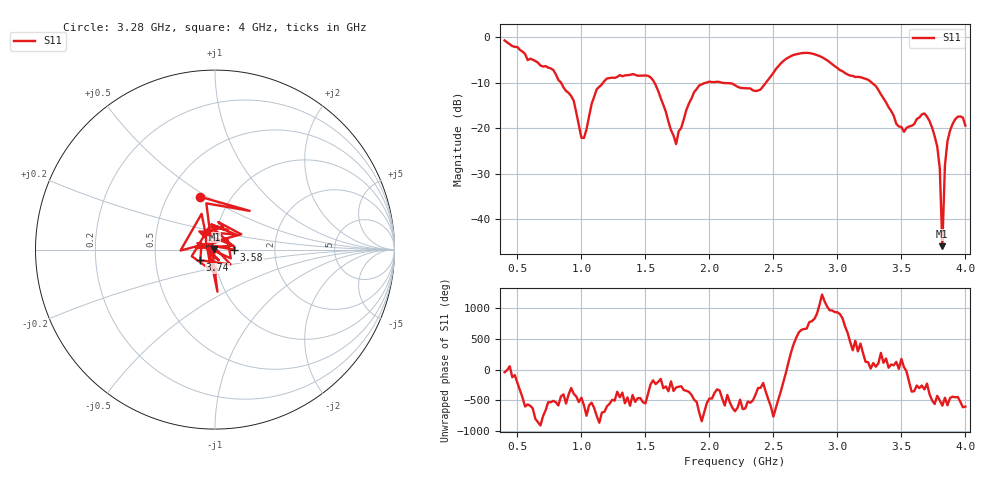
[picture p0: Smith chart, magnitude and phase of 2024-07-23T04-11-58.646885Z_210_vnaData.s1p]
!Created with skrf (http://scikit-rf.org).
# Hz S RI R 50.0
!freq ReS11 ImS11
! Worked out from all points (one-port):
!   181 points, 400 MHz to 4 GHz, reference 50 ohm
!   lowest |S11| = -45.9 dB at 3.82 GHz (marker M1), VSWR 1.01, Z = 49.7 + j0.387 ohm
!   |S11| at or under -10 dB: 1.57 GHz to 1.979 GHz (409.4 MHz wide, 23.1 % of centre); 2.093 GHz to 2.443 GHz (349.8 MHz wide, 15.4 % of centre); 3.268 GHz to end of sweep (the widest 3 of 4)
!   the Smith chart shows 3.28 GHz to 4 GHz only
!   S11 on the Smith chart (normalised r, x): 3.28 GHz: 0.72, +0.47; 3.58 GHz: 1.24, -0.00; 3.74 GHz: 0.84, -0.10; 4 GHz: 0.90, +0.18
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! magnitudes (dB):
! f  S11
! 400 MHz  -0.8
! 780 MHz  -7.2
! 860 MHz  -11.1
! 940 MHz  -14.0
! 1 GHz  -22.1
! 1.02 GHz  -22.1
! 1.12 GHz  -11.5
! 1.3 GHz  -8.4
! 1.54 GHz  -8.8
! 1.74 GHz  -23.5
! 1.76 GHz  -20.7
! 1.92 GHz  -10.6
! 2.2 GHz  -10.6
! 2.4 GHz  -11.5
! 2.66 GHz  -3.9
! 3.1 GHz  -8.5
! 3.28 GHz  -10.3
! 3.46 GHz  -19.0
! 3.56 GHz  -19.6
! 3.58 GHz  -19.5
! 3.68 GHz  -16.8
! 3.74 GHz  -19.9
! 3.8 GHz  -28.8
! 3.82 GHz  -45.9
! 3.84 GHz  -28.2
! 3.86 GHz  -22.8
! 3.94 GHz  -17.5
! 4 GHz  -19.4
